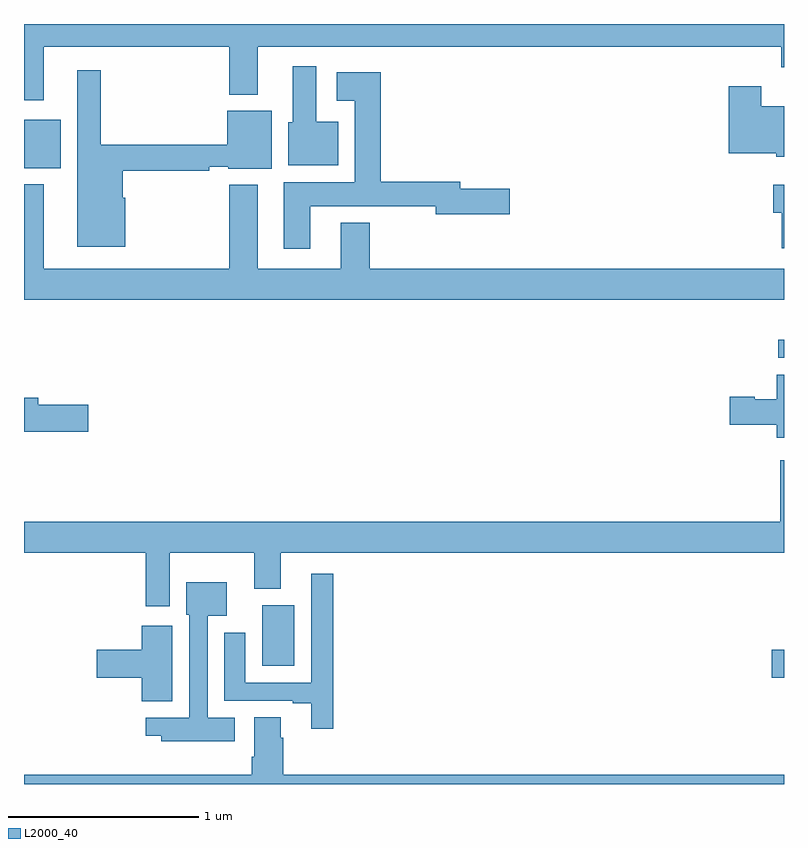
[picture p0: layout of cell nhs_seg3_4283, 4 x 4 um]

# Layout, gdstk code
import gdstk
lib = gdstk.Library(unit=1e-6, precision=1e-09)
def R(c, l, rs):  # rectangles x0, y0, x1, y1
    for r in rs: c.add(gdstk.rectangle(r[:2], r[2:], *l))
def P(c, l, *ps):  # polygons
    for p in ps: c.add(gdstk.Polygon(p, *l))
L2000_40 = (2000, 40)

nhs_seg3_4283 = lib.new_cell('nhs_seg3_4283')
R(nhs_seg3_4283, L2000_40, [(342.936,666.959,343,667.106), (340.253,667.022,340.423,667.342), (342.969,668.643,343,668.739), (339,669.641,339.193,669.895)])
P(nhs_seg3_4283, L2000_40, [(339.103,670.28),(340.079,670.28),(340.079,670.028),(340.231,670.028),(340.231,670.28),(342.985,670.28),(342.985,670.173),(343,670.173),(343,670.4),(339,670.4),(339,669.999),(339.103,669.999)],
  [(340.654,669.886),(340.537,669.886),(340.537,670.177),(340.415,670.177),(340.415,669.882),(340.391,669.882),(340.391,669.656),(340.654,669.656)],
  [(339.532,669.486),(339.52,669.486),(339.52,669.628),(339.974,669.628),(339.974,669.648),(340.074,669.648),(340.074,669.638),(340.303,669.638),(340.303,669.943),(340.07,669.943),(340.07,669.764),(339.403,669.764),(339.403,670.156),(339.281,670.156),(339.281,669.227),(339.532,669.227)],
  [(340.507,669.44),(340.86,669.44),(340.86,669.441),(341.168,669.441),(341.168,669.398),(341.557,669.398),(341.557,669.533),(341.296,669.533),(341.296,669.569),(340.877,669.569),(340.877,670.147),(340.647,670.147),(340.647,669.995),(340.742,669.995),(340.742,669.568),(340.367,669.568),(340.367,669.216),(340.507,669.216)],
  [(343,669.967),(342.88,669.967),(342.88,670.072),(342.71,670.072),(342.71,669.719),(342.96,669.719),(342.96,669.701),(343,669.701)],
  [(343,669.112),(340.82,669.112),(340.82,669.355),(340.667,669.355),(340.667,669.112),(340.231,669.112),(340.231,669.553),(340.079,669.553),(340.079,669.112),(339.103,669.112),(339.103,669.556),(339,669.556),(339,668.948),(343,668.948)],
  [(343,669.553),(342.944,669.553),(342.944,669.406),(342.988,669.406),(342.988,669.219),(343,669.219)],
  [(343,668.554),(342.962,668.554),(342.962,668.425),(342.846,668.425),(342.846,668.438),(342.714,668.438),(342.714,668.291),(342.962,668.291),(342.962,668.222),(343,668.222)],
  [(339.337,668.396),(339.076,668.396),(339.076,668.432),(339,668.432),(339,668.254),(339.337,668.254)],
  [(339.766,667.616),(340.211,667.616),(340.211,667.427),(340.351,667.427),(340.351,667.616),(343,667.616),(343,668.104),(342.979,668.104),(342.979,667.78),(339,667.78),(339,667.616),(339.641,667.616),(339.641,667.335),(339.766,667.335)],
  [(340.628,667.507),(340.512,667.507),(340.512,666.933),(340.165,666.933),(340.165,667.195),(340.055,667.195),(340.055,666.837),(340.415,666.837),(340.415,666.825),(340.511,666.825),(340.511,666.69),(340.628,666.69)],
  [(340.108,666.748),(339.966,666.748),(339.966,667.286),(340.066,667.286),(340.066,667.462),(339.854,667.462),(339.854,667.29),(339.87,667.29),(339.87,666.75),(339.642,666.75),(339.642,666.653),(339.723,666.653),(339.723,666.626),(340.108,666.626)],
  [(339.781,667.234),(339.62,667.234),(339.62,667.106),(339.384,667.106),(339.384,666.959),(339.62,666.959),(339.62,666.835),(339.781,666.835)],
  [(343,666.448),(340.364,666.448),(340.364,666.644),(340.351,666.644),(340.351,666.752),(340.211,666.752),(340.211,666.544),(340.199,666.544),(340.199,666.448),(339,666.448),(339,666.4),(343,666.4)])

lib.write_gds('nhs_seg3_4283.gds')
